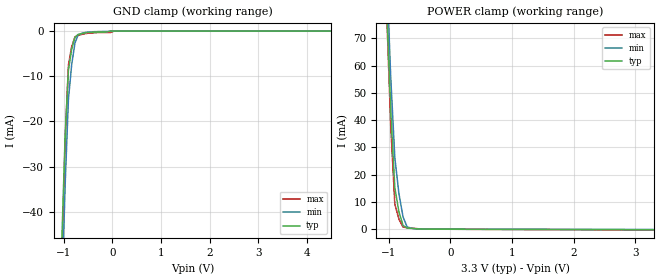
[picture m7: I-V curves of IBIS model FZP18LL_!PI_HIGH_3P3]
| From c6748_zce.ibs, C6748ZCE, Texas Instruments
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|   Model Cell FZP18LL_!PI_HIGH_3P3
|IC1833DVTPBFZP18LL_!PI_HIGH_3P3
[Model]   FZP18LL_!PI_HIGH_3P3
Model_type   Input
Polarity   Non-Inverting
Vinl =  0.8V
Vinh =  2V
C_comp   1.012258p   0.8890016p   1.091755p
[Model Spec]
Vinl   0.8V   0.8V   0.8V
Vinh   2V   2V   2V
[Temperature Range]   25   125   -40
[Voltage Range]   3.3   2.97   3.63
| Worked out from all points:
|   GND clamp passes 1 mA (typ) near -0.73 V on its own axis
|   POWER clamp passes 1 mA (typ) near -0.74 V on its own axis
[POWER_clamp]
|   voltage   I(typ)   I(min)   I(max)
-3.3V     2.37A      2.826A     2.542A
-1.033V   82.45mA    94.83mA    80.46mA
-966.7mV  43.63mA    55.94mA    38.29mA
-900mV    15.26mA    26.28mA    9.25mA
-833.3mV  6.36mA     13.02mA    3.719mA
-766.7mV  1.419mA    4.545mA    812.7uA
-700mV    434.9uA    841.8uA    529.8uA
-500mV    114.3uA    72.51uA    142.6uA
3.3V      -177.5uA   -119.9uA   -277.3uA
[GND_clamp]
|   voltage   I(typ)   I(min)   I(max)
-3.3V     -1.792A    -1.668A    -2.631A
-1.033V   -45.64mA   -57.8mA    -50.41mA
-966.7mV  -22.95mA   -33.88mA   -24.23mA
-900mV    -8.666mA   -15.12mA   -7.531mA
-833.3mV  -3.992mA   -7.446mA   -3.487mA
-766.7mV  -1.349mA   -2.684mA   -1.294mA
-700mV    -737.3uA   -833.8uA   -950.7uA
-500mV    -322.4uA   -220.3uA   -476.2uA
-100mV    -182.9uA   -91.68uA   -313.4uA
-33.33mV  0A         0A         -307.8uA
33.33mV   0A         0A         0A
6.6V      0A         0A         0A
